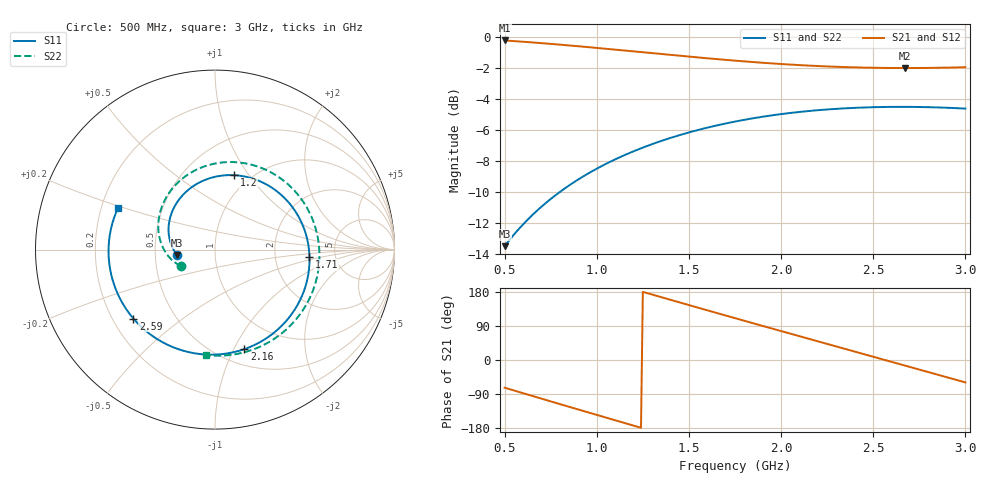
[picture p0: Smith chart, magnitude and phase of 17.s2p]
!freq-unit  param-type  data-format  keyword  impedance-ohms
# GHZ  S  RI  R  50
!Freq  ReS11  ImS11  ReS21  ImS21  ReS12  ImS12  ReS22  ImS22
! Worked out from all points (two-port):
!   251 points, 500 MHz to 3 GHz, reference 50 ohm
!   highest |S21| = -0.22 dB at 500 MHz (marker M1); lowest = -2.0 dB at 2.67 GHz (marker M2)
!   |S21| within 3 dB of the highest: start of sweep to end of sweep
!   lowest |S11| = -13.5 dB at 500 MHz (marker M3), VSWR 1.54, Z = 32.6 - j2.07 ohm
!   |S11| at or under -10 dB: start of sweep to 798.1 MHz
!   |S22| runs from -13.5 to -4.5 dB; largest |S21 - S12| = 0
!   S11 on the Smith chart (normalised r, x): 500 MHz: 0.65, -0.04; 1.2 GHz: 0.84, +0.86; 1.71 GHz: 3.19, -0.36; 2.16 GHz: 0.66, -1.10; 2.59 GHz: 0.29, -0.34; 3 GHz: 0.27, +0.19
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0.5  -0.2097 -0.0303  0.2836 -0.9325  0.2836 -0.9325  -0.1915 -0.0909
0.6  -0.2465 0.0348  0.0408 -0.9647  0.0408 -0.9647  -0.243 -0.0548
0.7  -0.2588 0.1167  -0.1989 -0.9347  -0.1989 -0.9347  -0.2842 -0.000368
0.81  -0.2376 0.2144  -0.4404 -0.8348  -0.4404 -0.8348  -0.3111 0.076
0.92  -0.1779 0.3056  -0.6416 -0.6752  -0.6416 -0.6752  -0.3141 0.1631
1.06  -0.0531 0.3892  -0.8186 -0.4093  -0.8186 -0.4093  -0.2791 0.277
1.2  0.1075 0.4147  -0.8925 -0.1064  -0.8925 -0.1064  -0.2013 0.3787
1.34  0.2749 0.3693  -0.8605 0.1961  -0.8605 0.1961  -0.087 0.4526
1.54  0.4636 0.1872  -0.6527 0.5604  -0.6527 0.5604  0.1159 0.487
1.71  0.5265 -0.0407  -0.3683 0.7581  -0.3683 0.7581  0.2945 0.4392
1.75  0.5248 -0.0983  -0.2928 0.7863  -0.2928 0.7863  0.3338 0.4177
1.85  0.4919 -0.2402  -0.0975 0.8244  -0.0975 0.8244  0.4234 0.3482
1.95  0.4193 -0.3698  0.0986 0.8161  0.0986 0.8161  0.4964 0.2591
2.16  0.163 -0.5548  0.468 0.659  0.468 0.659  0.5785 0.0284
2.17  0.1483 -0.5596  0.4831 0.6473  0.4831 0.6473  0.5796 0.0166
2.28  -0.0208 -0.5855  0.6289 0.4983  0.6289 0.4983  0.5756 -0.1142
2.38  -0.1765 -0.5635  0.7246 0.3361  0.7246 0.3361  0.545 -0.2299
2.49  -0.3348 -0.4904  0.7839 0.1386  0.7839 0.1386  0.4834 -0.3467
2.59  -0.4544 -0.3846  0.7932 -0.0484  0.7932 -0.0484  0.405 -0.4379
2.67  -0.5265 -0.2784  0.7696 -0.1963  0.7696 -0.1963  0.3295 -0.4976
2.84  -0.5931 -0.0152  0.6323 -0.4828  0.6323 -0.4828  0.1421 -0.5773
3  -0.5393 0.2342  0.4099 -0.686  0.4099 -0.686  -0.049 -0.5872
